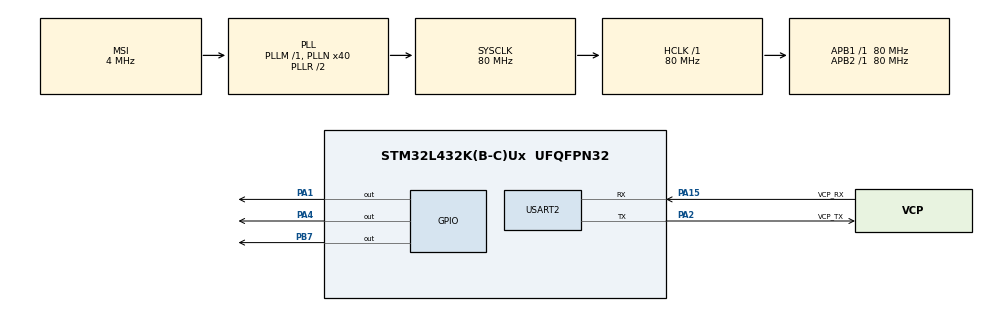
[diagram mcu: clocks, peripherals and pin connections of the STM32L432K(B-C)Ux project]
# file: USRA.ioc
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Dma.Request0=USART2_RX
Dma.USART2_RX.0.Direction=DMA_PERIPH_TO_MEMORY
Dma.USART2_RX.0.Instance=DMA1_Channel6
Dma.USART2_RX.0.MemDataAlignment=DMA_MDATAALIGN_BYTE
Dma.USART2_RX.0.MemInc=DMA_MINC_ENABLE
Dma.USART2_RX.0.Mode=DMA_CIRCULAR
Dma.USART2_RX.0.PeriphDataAlignment=DMA_PDATAALIGN_BYTE
Dma.USART2_RX.0.PeriphInc=DMA_PINC_DISABLE
Dma.USART2_RX.0.Priority=DMA_PRIORITY_LOW
Mcu.Family=STM32L4
Mcu.Name=STM32L432K(B-C)Ux
Mcu.Package=UFQFPN32
NVIC.DMA1_Channel6_IRQn=true\:0\:0\:false\:false\:true\:false\:true\:true
NVIC.PriorityGroup=NVIC_PRIORITYGROUP_4
NVIC.USART2_IRQn=true\:0\:0\:false\:false\:true\:true\:true\:true
PA1.Signal=GPIO_Output
PA13\ (JTMS-SWDIO).GPIO_Label=SWDIO
PA13\ (JTMS-SWDIO).Mode=Serial_Wire
PA13\ (JTMS-SWDIO).Signal=SYS_JTMS-SWDIO
PA14\ (JTCK-SWCLK).GPIO_Label=SWCLK
PA14\ (JTCK-SWCLK).Mode=Serial_Wire
PA14\ (JTCK-SWCLK).Signal=SYS_JTCK-SWCLK
PA15\ (JTDI).GPIO_Label=VCP_RX
PA15\ (JTDI).Mode=Asynchronous
PA15\ (JTDI).Signal=USART2_RX
PA2.GPIO_Label=VCP_TX
PA2.Mode=Asynchronous
PA2.Signal=USART2_TX
PA4.GPIO_Speed=GPIO_SPEED_FREQ_LOW
PA4.PinState=GPIO_PIN_SET
PA4.Signal=GPIO_Output
PB7.Signal=GPIO_Output
PC14-OSC32_IN\ (PC14).Mode=LSE-External-Oscillator
PC14-OSC32_IN\ (PC14).Signal=RCC_OSC32_IN
PC15-OSC32_OUT\ (PC15).Mode=LSE-External-Oscillator
PC15-OSC32_OUT\ (PC15).Signal=RCC_OSC32_OUT
ProjectManager.HeapSize=0x200
ProjectManager.StackSize=0x400
ProjectManager.TargetToolchain=STM32CubeIDE
RCC.ADCFreq_Value=32000000
RCC.AHBFreq_Value=80000000
RCC.APB1Freq_Value=80000000
RCC.APB1TimFreq_Value=80000000
RCC.APB2Freq_Value=80000000
RCC.APB2TimFreq_Value=80000000
RCC.CortexFreq_Value=80000000
RCC.HCLKFreq_Value=80000000
RCC.HSE_VALUE=8000000
RCC.HSI16_VALUE=16000000
RCC.HSI48_VALUE=48000000
RCC.HSI_VALUE=16000000
RCC.MSI_VALUE=4000000
RCC.PLLMUL=RCC_PLLMUL_4
RCC.PLLN=40
RCC.PLLSAI1N=16
RCC.SYSCLKFreq_VALUE=80000000
RCC.SYSCLKSource=RCC_SYSCLKSOURCE_PLLCLK
RCC.USBFreq_Value=32000000
RCC.VCOOutputFreq_Value=160000000
TIM1.AutoReloadPreload=TIM_AUTORELOAD_PRELOAD_ENABLE
TIM1.Period=2000-1
TIM1.Prescaler=50-1
TIM1.TIM_MasterOutputTrigger=TIM_TRGO_UPDATE
USART2.VirtualMode-Asynchronous=VM_ASYNC
VP_TIM1_VS_ClockSourceINT.Mode=Internal
board=NUCLEO-L432KC

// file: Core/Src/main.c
/* USER CODE BEGIN Header */
/**
  ******************************************************************************
  * @file           : main.c
  * @brief          : Main program body
  ******************************************************************************
  * @attention
  *
  * Copyright (c) 2024 STMicroelectronics.
  * All rights reserved.
  *
  * This software is licensed under terms that can be found in the LICENSE file
  * in the root directory of this software component.
  * If no LICENSE file comes with this software, it is provided AS-IS.
  *
  ******************************************************************************
  */
/* USER CODE END Header */
#include "main.h"

/* USER CODE BEGIN Includes */
#include <string.h>
#include <stdio.h>
#include <math.h>

/* USER CODE END Includes */

/* USER CODE BEGIN PD */
#define TX_BUF_SIZE 100
#define RX_BUF_SIZE 15
/* USER CODE END PD */

TIM_HandleTypeDef htim1;

UART_HandleTypeDef huart2;
DMA_HandleTypeDef hdma_usart2_rx;

/* USER CODE BEGIN PV */

char tx_buf[TX_BUF_SIZE];
char rx_buf[RX_BUF_SIZE];

/* USER CODE END PV */

void SystemClock_Config(void);
static void MX_GPIO_Init(void);
static void MX_DMA_Init(void);
static void MX_USART2_UART_Init(void);
static void MX_TIM1_Init(void);

int main(void)
{

  /* MCU Configuration--------------------------------------------------------*/

  /* Reset of all peripherals, Initializes the Flash interface and the Systick. */
  HAL_Init();

  /* Configure the system clock */
  SystemClock_Config();

  /* Initialize all configured peripherals */
  MX_GPIO_Init();
  MX_DMA_Init();
  MX_USART2_UART_Init();
  MX_TIM1_Init();
  /* USER CODE BEGIN 2 */

  float vDAC = 1.2345f;
  float vout = 2.3456f;
  HAL_UART_Receive_DMA(&huart2, (uint8_t*)rx_buf, RX_BUF_SIZE);
  /* USER CODE END 2 */

  /* Infinite loop */
  /* USER CODE BEGIN WHILE */
  while (1)
  {
	  int tx_len = sprintf(tx_buf, "vDAC %.4f vout %.4f\r\n", vDAC, vout);
	  if (tx_len > 0)
	  	  {
		  	  HAL_UART_Transmit(&huart2, (uint8_t*)tx_buf, tx_len, HAL_MAX_DELAY);
	  	  }

	;
	  HAL_Delay(1000); // Delay for readability  }
    /* USER CODE END WHILE */

  }
}

void SystemClock_Config(void)
{
  RCC_OscInitTypeDef RCC_OscInitStruct = {0};
  RCC_ClkInitTypeDef RCC_ClkInitStruct = {0};

  /** Configure the main internal regulator output voltage
  */
  if (HAL_PWREx_ControlVoltageScaling(PWR_REGULATOR_VOLTAGE_SCALE1) != HAL_OK)
  {
    Error_Handler();
  }

  /** Configure LSE Drive Capability
  */
  HAL_PWR_EnableBkUpAccess();
  __HAL_RCC_LSEDRIVE_CONFIG(RCC_LSEDRIVE_LOW);

  /** Initializes the RCC Oscillators according to the specified parameters
  * in the RCC_OscInitTypeDef structure.
  */
  RCC_OscInitStruct.OscillatorType = RCC_OSCILLATORTYPE_LSE|RCC_OSCILLATORTYPE_MSI;
  RCC_OscInitStruct.LSEState = RCC_LSE_ON;
  RCC_OscInitStruct.MSIState = RCC_MSI_ON;
  RCC_OscInitStruct.MSICalibrationValue = 0;
  RCC_OscInitStruct.MSIClockRange = RCC_MSIRANGE_6;
  RCC_OscInitStruct.PLL.PLLState = RCC_PLL_ON;
  RCC_OscInitStruct.PLL.PLLSource = RCC_PLLSOURCE_MSI;
  RCC_OscInitStruct.PLL.PLLM = 1;
  RCC_OscInitStruct.PLL.PLLN = 40;
  RCC_OscInitStruct.PLL.PLLP = RCC_PLLP_DIV7;
  RCC_OscInitStruct.PLL.PLLQ = RCC_PLLQ_DIV2;
  RCC_OscInitStruct.PLL.PLLR = RCC_PLLR_DIV2;
  if (HAL_RCC_OscConfig(&RCC_OscInitStruct) != HAL_OK)
  {
    Error_Handler();
  }

  /** Initializes the CPU, AHB and APB buses clocks
  */
  RCC_ClkInitStruct.ClockType = RCC_CLOCKTYPE_HCLK|RCC_CLOCKTYPE_SYSCLK
                              |RCC_CLOCKTYPE_PCLK1|RCC_CLOCKTYPE_PCLK2;
  RCC_ClkInitStruct.SYSCLKSource = RCC_SYSCLKSOURCE_PLLCLK;
  RCC_ClkInitStruct.AHBCLKDivider = RCC_SYSCLK_DIV1;
  RCC_ClkInitStruct.APB1CLKDivider = RCC_HCLK_DIV1;
  RCC_ClkInitStruct.APB2CLKDivider = RCC_HCLK_DIV1;

  if (HAL_RCC_ClockConfig(&RCC_ClkInitStruct, FLASH_LATENCY_4) != HAL_OK)
  {
    Error_Handler();
  }

  /** Enable MSI Auto calibration
  */
  HAL_RCCEx_EnableMSIPLLMode();
}

static void MX_TIM1_Init(void)
{

  TIM_ClockConfigTypeDef sClockSourceConfig = {0};
  TIM_MasterConfigTypeDef sMasterConfig = {0};

  htim1.Instance = TIM1;
  htim1.Init.Prescaler = 50-1;
  htim1.Init.CounterMode = TIM_COUNTERMODE_UP;
  htim1.Init.Period = 2000-1;
  htim1.Init.ClockDivision = TIM_CLOCKDIVISION_DIV1;
  htim1.Init.RepetitionCounter = 0;
  htim1.Init.AutoReloadPreload = TIM_AUTORELOAD_PRELOAD_ENABLE;
  if (HAL_TIM_Base_Init(&htim1) != HAL_OK)
  {
    Error_Handler();
  }
  sClockSourceConfig.ClockSource = TIM_CLOCKSOURCE_INTERNAL;
  if (HAL_TIM_ConfigClockSource(&htim1, &sClockSourceConfig) != HAL_OK)
  {
    Error_Handler();
  }
  sMasterConfig.MasterOutputTrigger = TIM_TRGO_UPDATE;
  sMasterConfig.MasterOutputTrigger2 = TIM_TRGO2_RESET;
  sMasterConfig.MasterSlaveMode = TIM_MASTERSLAVEMODE_DISABLE;
  if (HAL_TIMEx_MasterConfigSynchronization(&htim1, &sMasterConfig) != HAL_OK)
  {
    Error_Handler();
  }

}

static void MX_USART2_UART_Init(void)
{

  huart2.Instance = USART2;
  huart2.Init.BaudRate = 115200;
  huart2.Init.WordLength = UART_WORDLENGTH_8B;
  huart2.Init.StopBits = UART_STOPBITS_1;
  huart2.Init.Parity = UART_PARITY_NONE;
  huart2.Init.Mode = UART_MODE_TX_RX;
  huart2.Init.HwFlowCtl = UART_HWCONTROL_NONE;
  huart2.Init.OverSampling = UART_OVERSAMPLING_16;
  huart2.Init.OneBitSampling = UART_ONE_BIT_SAMPLE_DISABLE;
  huart2.AdvancedInit.AdvFeatureInit = UART_ADVFEATURE_NO_INIT;
  if (HAL_UART_Init(&huart2) != HAL_OK)
  {
    Error_Handler();
  }

}

static void MX_DMA_Init(void)
{

  /* DMA controller clock enable */
  __HAL_RCC_DMA1_CLK_ENABLE();

  /* DMA interrupt init */
  /* DMA1_Channel6_IRQn interrupt configuration */
  HAL_NVIC_SetPriority(DMA1_Channel6_IRQn, 0, 0);
  HAL_NVIC_EnableIRQ(DMA1_Channel6_IRQn);

}

static void MX_GPIO_Init(void)
{
  GPIO_InitTypeDef GPIO_InitStruct = {0};

  /* GPIO Ports Clock Enable */
  __HAL_RCC_GPIOC_CLK_ENABLE();
  __HAL_RCC_GPIOA_CLK_ENABLE();
  __HAL_RCC_GPIOB_CLK_ENABLE();

  /*Configure GPIO pin Output Level */
  HAL_GPIO_WritePin(GPIOA, GPIO_PIN_1, GPIO_PIN_RESET);

  /*Configure GPIO pin Output Level */
  HAL_GPIO_WritePin(GPIOA, GPIO_PIN_4, GPIO_PIN_SET);

  /*Configure GPIO pin Output Level */
  HAL_GPIO_WritePin(GPIOB, GPIO_PIN_7, GPIO_PIN_RESET);

  /*Configure GPIO pins : PA1 PA4 */
  GPIO_InitStruct.Pin = GPIO_PIN_1|GPIO_PIN_4;
  GPIO_InitStruct.Mode = GPIO_MODE_OUTPUT_PP;
  GPIO_InitStruct.Pull = GPIO_NOPULL;
  GPIO_InitStruct.Speed = GPIO_SPEED_FREQ_LOW;
  HAL_GPIO_Init(GPIOA, &GPIO_InitStruct);

  /*Configure GPIO pin : PB7 */
  GPIO_InitStruct.Pin = GPIO_PIN_7;
  GPIO_InitStruct.Mode = GPIO_MODE_OUTPUT_PP;
  GPIO_InitStruct.Pull = GPIO_NOPULL;
  GPIO_InitStruct.Speed = GPIO_SPEED_FREQ_LOW;
  HAL_GPIO_Init(GPIOB, &GPIO_InitStruct);

}

/* USER CODE BEGIN 4 */

void HAL_UART_RxCpltCallback(UART_HandleTypeDef *huart)
{
    if (huart->Instance == USART2)
    {
        // Process received data stored in rx_buf
        // For example, print the received data
        HAL_UART_Transmit(&huart2, (uint8_t*)rx_buf, strlen(rx_buf), HAL_MAX_DELAY);

        // Re-enable the UART receive interrupt

    }
}
/* USER CODE END 4 */

void Error_Handler(void)
{
  __disable_irq();
  while (1)
  {
  }
}
